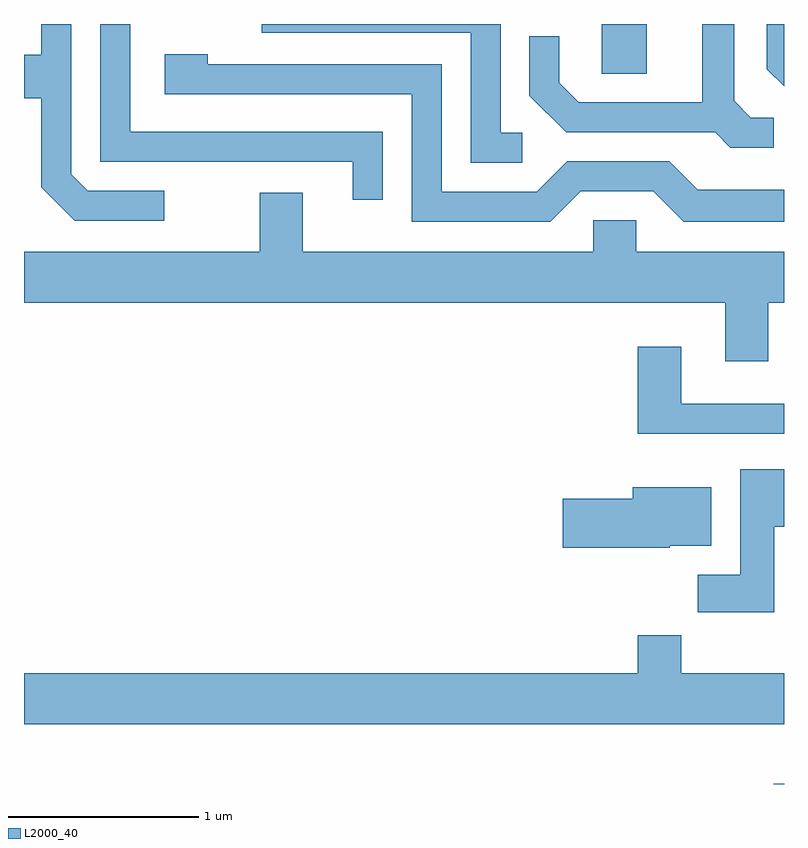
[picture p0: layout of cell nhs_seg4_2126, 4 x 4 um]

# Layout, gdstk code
import gdstk
lib = gdstk.Library(unit=1e-6, precision=1e-09)
def R(c, l, rs):  # rectangles x0, y0, x1, y1
    for r in rs: c.add(gdstk.rectangle(r[:2], r[2:], *l))
def P(c, l, *ps):  # polygons
    for p in ps: c.add(gdstk.Polygon(p, *l))
L2000_40 = (2000, 40)

nhs_seg4_2126 = lib.new_cell('nhs_seg4_2126')
R(nhs_seg4_2126, L2000_40, [(251.556,1289.982,251.611,1289.984), (250.651,1293.721,250.889,1293.982)])
P(nhs_seg4_2126, L2000_40, [(251.558,1293.489),(251.437,1293.489),(251.349,1293.577),(251.349,1293.982),(251.181,1293.982),(251.181,1293.569),(250.532,1293.569),(250.429,1293.672),(250.429,1293.918),(250.271,1293.918),(250.271,1293.604),(250.464,1293.411),(251.249,1293.411),(251.329,1293.331),(251.558,1293.331)],
  [(249.499,1293.414),(248.169,1293.414),(248.169,1293.982),(248.011,1293.982),(248.011,1293.256),(249.341,1293.256),(249.341,1293.058),(249.499,1293.058)],
  [(251.611,1293.982),(251.521,1293.982),(251.521,1293.744),(251.611,1293.654)],
  [(248.348,1293.104),(247.947,1293.104),(247.859,1293.192),(247.859,1293.982),(247.701,1293.982),(247.701,1293.819),(247.611,1293.819),(247.611,1293.591),(247.701,1293.591),(247.701,1293.124),(247.879,1292.946),(248.348,1292.946)],
  [(250.233,1293.409),(250.119,1293.409),(250.119,1293.982),(248.863,1293.982),(248.863,1293.936),(249.961,1293.936),(249.961,1293.251),(250.233,1293.251)],
  [(250.542,1293.101),(250.924,1293.101),(251.084,1292.941),(251.611,1292.941),(251.611,1293.109),(251.157,1293.109),(251.007,1293.259),(250.469,1293.259),(250.309,1293.099),(249.809,1293.099),(249.809,1293.769),(248.579,1293.769),(248.579,1293.824),(248.351,1293.824),(248.351,1293.611),(249.651,1293.611),(249.651,1292.941),(250.382,1292.941)],
  [(251.529,1292.516),(251.611,1292.516),(251.611,1292.784),(250.834,1292.784),(250.834,1292.949),(250.606,1292.949),(250.606,1292.784),(249.079,1292.784),(249.079,1293.094),(248.851,1293.094),(248.851,1292.784),(247.611,1292.784),(247.611,1292.516),(251.301,1292.516),(251.301,1292.206),(251.529,1292.206)],
  [(251.611,1291.984),(251.069,1291.984),(251.069,1292.284),(250.841,1292.284),(250.841,1291.826),(251.611,1291.826)],
  [(251.559,1291.336),(251.611,1291.336),(251.611,1291.639),(251.381,1291.639),(251.381,1291.084),(251.156,1291.084),(251.156,1290.886),(251.559,1290.886)],
  [(251.01,1291.236),(251.229,1291.236),(251.229,1291.544),(250.816,1291.544),(250.816,1291.484),(250.446,1291.484),(250.446,1291.226),(251.01,1291.226)],
  [(251.611,1290.564),(251.069,1290.564),(251.069,1290.764),(250.841,1290.764),(250.841,1290.564),(247.611,1290.564),(247.611,1290.296),(251.611,1290.296)])

lib.write_gds('nhs_seg4_2126.gds')
